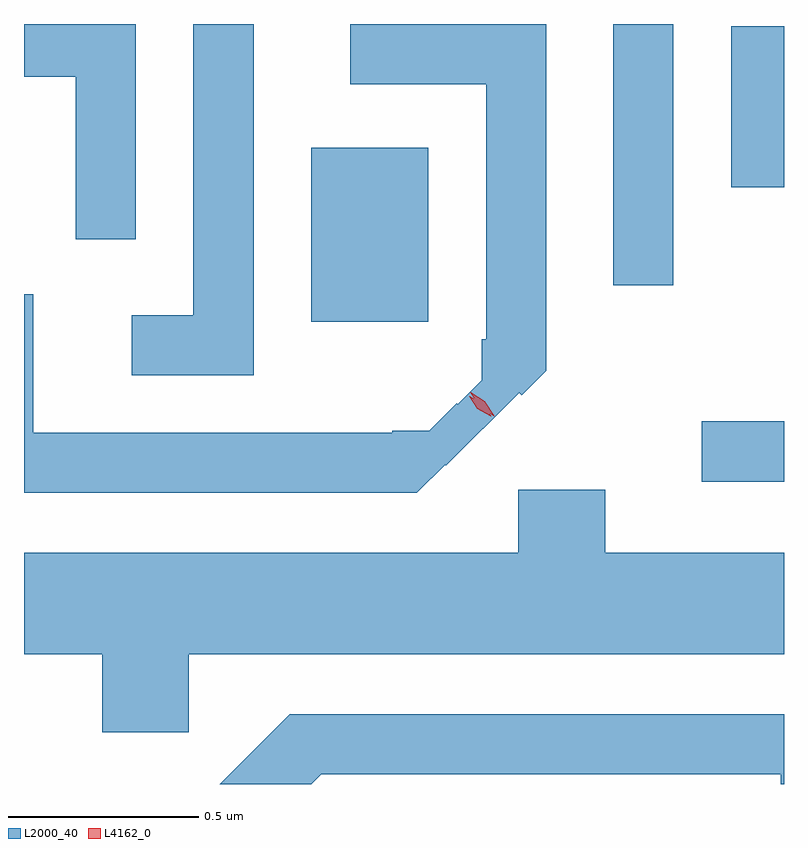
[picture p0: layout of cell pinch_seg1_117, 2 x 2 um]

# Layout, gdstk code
import gdstk
lib = gdstk.Library(unit=1e-6, precision=1e-09)
def R(c, l, rs):  # rectangles x0, y0, x1, y1
    for r in rs: c.add(gdstk.rectangle(r[:2], r[2:], *l))
def P(c, l, *ps):  # polygons
    for p in ps: c.add(gdstk.Polygon(p, *l))
L2000_40 = (2000, 40)
L4162_0 = (4162, 0)

pinch_seg1_117 = lib.new_cell('pinch_seg1_117')
R(pinch_seg1_117, L2000_40, [(214.008,868.951,214.225,869.109), (212.981,869.371,213.289,869.829), (213.776,869.468,213.934,870.155), (214.086,869.726,214.225,870.149)])
P(pinch_seg1_117, L2000_40, [(212.829,870.155),(212.671,870.155),(212.671,869.389),(212.508,869.389),(212.508,869.231),(212.829,869.231)],
  [(212.519,870.155),(212.225,870.155),(212.225,870.016),(212.361,870.016),(212.361,869.588),(212.519,869.588)],
  [(213.333,868.995),(213.335,868.992),(213.528,869.185),(213.535,869.178),(213.599,869.242),(213.599,870.154),(213.083,870.154),(213.083,869.996),(213.441,869.996),(213.441,869.326),(213.43,869.326),(213.43,869.218),(213.366,869.154),(213.364,869.157),(213.291,869.084),(213.194,869.084),(213.194,869.079),(212.249,869.079),(212.249,869.444),(212.225,869.444),(212.225,868.921),(213.259,868.921)],
  [(212.659,868.496),(214.225,868.496),(214.225,868.764),(213.754,868.764),(213.754,868.929),(213.526,868.929),(213.526,868.764),(212.225,868.764),(212.225,868.496),(212.431,868.496),(212.431,868.291),(212.659,868.291)],
  [(213.007,868.181),(214.216,868.181),(214.216,868.155),(214.225,868.155),(214.225,868.339),(212.924,868.339),(212.74,868.155),(212.981,868.155)])
P(pinch_seg1_117, L4162_0, [(213.462,869.123),(213.424,869.148),(213.399,869.186),(213.399,869.186),(213.4,869.186),(213.438,869.162),(213.462,869.124),(213.462,869.123)],
  [(213.453,869.123),(213.418,869.142),(213.397,869.175),(213.397,869.176),(213.398,869.176),(213.432,869.156),(213.454,869.123),(213.454,869.123)])

lib.write_gds('pinch_seg1_117.gds')
